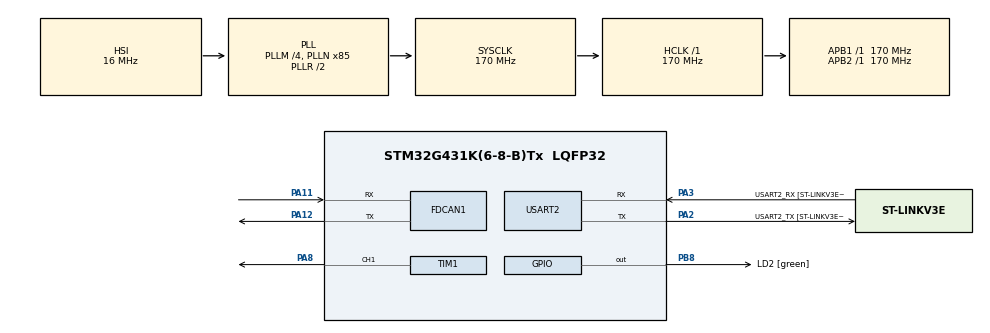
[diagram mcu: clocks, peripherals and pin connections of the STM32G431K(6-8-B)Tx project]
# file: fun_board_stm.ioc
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Dma.Request0=TIM1_CH1
Dma.TIM1_CH1.0.Direction=DMA_MEMORY_TO_PERIPH
Dma.TIM1_CH1.0.EventEnable=DISABLE
Dma.TIM1_CH1.0.Instance=DMA1_Channel1
Dma.TIM1_CH1.0.MemDataAlignment=DMA_MDATAALIGN_HALFWORD
Dma.TIM1_CH1.0.MemInc=DMA_MINC_ENABLE
Dma.TIM1_CH1.0.Mode=DMA_NORMAL
Dma.TIM1_CH1.0.PeriphDataAlignment=DMA_PDATAALIGN_HALFWORD
Dma.TIM1_CH1.0.PeriphInc=DMA_PINC_DISABLE
Dma.TIM1_CH1.0.Polarity=HAL_DMAMUX_REQ_GEN_RISING
Dma.TIM1_CH1.0.Priority=DMA_PRIORITY_LOW
Dma.TIM1_CH1.0.RequestNumber=1
Dma.TIM1_CH1.0.SignalID=NONE
Dma.TIM1_CH1.0.SyncEnable=DISABLE
Dma.TIM1_CH1.0.SyncPolarity=HAL_DMAMUX_SYNC_NO_EVENT
Dma.TIM1_CH1.0.SyncRequestNumber=1
Dma.TIM1_CH1.0.SyncSignalID=NONE
FDCAN1.CalculateBaudRateNominal=999999
FDCAN1.CalculateTimeBitNominal=1000
FDCAN1.CalculateTimeQuantumNominal=58.82352941176471
FDCAN1.DataPrescaler=10
FDCAN1.DataTimeSeg1=14
FDCAN1.DataTimeSeg2=2
FDCAN1.NominalPrescaler=10
FDCAN1.NominalTimeSeg1=14
Mcu.Family=STM32G4
Mcu.Name=STM32G431K(6-8-B)Tx
Mcu.Package=LQFP32
NVIC.DMA1_Channel1_IRQn=true\:0\:0\:false\:false\:true\:false\:true\:true
NVIC.FDCAN1_IT0_IRQn=true\:0\:0\:false\:false\:true\:true\:true\:true
NVIC.PriorityGroup=NVIC_PRIORITYGROUP_4
PA11.Mode=FDCAN_Activate
PA11.Signal=FDCAN1_RX
PA12.Mode=FDCAN_Activate
PA12.Signal=FDCAN1_TX
PA13.GPIO_Label=T_SWDIO
PA13.Mode=Serial_Wire
PA13.Signal=SYS_JTMS-SWDIO
PA14.GPIO_Label=T_SWCLK
PA14.Mode=Serial_Wire
PA14.Signal=SYS_JTCK-SWCLK
PA2.GPIO_Label=USART2_TX [ST-LINKV3E_VCP_RX]
PA2.Mode=Asynchronous
PA2.Signal=USART2_TX
PA3.GPIO_Label=USART2_RX [ST-LINKV3E_VCP_TX]
PA3.Mode=Asynchronous
PA3.Signal=USART2_RX
PA8.Signal=S_TIM1_CH1
PB3.GPIO_Label=T_SWO
PB3.Signal=SYS_JTDO-SWO
PB8-BOOT0.GPIO_Label=LD2 [green]
PB8-BOOT0.GPIO_PuPd=GPIO_NOPULL
PB8-BOOT0.Signal=GPIO_Output
ProjectManager.HeapSize=0x200
ProjectManager.StackSize=0x400
ProjectManager.TargetToolchain=STM32CubeIDE
RCC.ADC12Freq_Value=170000000
RCC.AHBFreq_Value=170000000
RCC.APB1Freq_Value=170000000
RCC.APB1TimFreq_Value=170000000
RCC.APB2Freq_Value=170000000
RCC.APB2TimFreq_Value=170000000
RCC.CortexFreq_Value=170000000
RCC.EXTERNAL_CLOCK_VALUE=12288000
RCC.HCLKFreq_Value=170000000
RCC.HSE_VALUE=8000000
RCC.HSI48_VALUE=48000000
RCC.HSI_VALUE=16000000
RCC.LSE_VALUE=32768
RCC.PLLM=RCC_PLLM_DIV4
RCC.PLLN=85
RCC.SYSCLKFreq_VALUE=170000000
RCC.SYSCLKSource=RCC_SYSCLKSOURCE_PLLCLK
RCC.USBFreq_Value=170000000
RCC.VCOOutputFreq_Value=340000000
SH.S_TIM1_CH1.0=TIM1_CH1,PWM Generation1 CH1
TIM1.Channel-PWM\ Generation1\ CH1=TIM_CHANNEL_1
TIM1.PeriodNoDither=215
USART2.VirtualMode-Asynchronous=VM_ASYNC
USART2.WordLength=WORDLENGTH_8B
VP_SYS_VS_DBSignals.Mode=DisableDeadBatterySignals
VP_TIM1_VS_ClockSourceINT.Mode=Internal
board=NUCLEO-G431KB

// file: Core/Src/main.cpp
/* USER CODE BEGIN Header */
/**
  ******************************************************************************
  * @file           : main.c
  * @brief          : Main program body
  ******************************************************************************
  * @attention
  *
  * Copyright (c) 2024 STMicroelectronics.
  * All rights reserved.
  *
  * This software is licensed under terms that can be found in the LICENSE file
  * in the root directory of this software component.
  * If no LICENSE file comes with this software, it is provided AS-IS.
  *
  ******************************************************************************
  */
/* USER CODE END Header */
#include "main.h"

/* USER CODE BEGIN Includes */

#include "math.h"

#include "MessageRecomposer.h"
#include "ChampiCan.h"

#include "ChampiState.h"

#include <pb_encode.h>
#include <pb_decode.h>
#include "msgs_can.pb.h"
#include "can_ids.hpp"

/* USER CODE END Includes */

/* USER CODE BEGIN PD */

#define MAX_LED 24
#define USE_BRIGHTNESS 0

volatile int datasentflag = 0;

uint8_t LED_Data[MAX_LED][4];
uint8_t LED_Mod[MAX_LED][4];  // for brightness

ChampiCan champi_can;
MessageRecomposer msg_recomposer_led_ring_distances;

ChampiState champi_state;

/* USER CODE END PD */

FDCAN_HandleTypeDef hfdcan1;

TIM_HandleTypeDef htim1;
DMA_HandleTypeDef hdma_tim1_ch1;

UART_HandleTypeDef huart2;

float distances_from_can[24];

void SystemClock_Config(void);
static void MX_GPIO_Init(void);
static void MX_DMA_Init(void);
static void MX_USART2_UART_Init(void);
static void MX_TIM1_Init(void);
static void MX_FDCAN1_Init(void);
/* USER CODE BEGIN PFP */

void on_receive_led_ring_distances(const std::string &proto_msg);

/* USER CODE END PFP */

/* USER CODE BEGIN 0 */

extern "C"
{
int _write(int file, char *ptr, int len)
{
   for (int DataIdx = 0; DataIdx < len; DataIdx++)
//        ITM_SendChar(*ptr++);
   	HAL_UART_Transmit(&huart2, (uint8_t*)ptr++, 1, HAL_MAX_DELAY);
   return len;
}

}

/**
  * @brief  Rx FIFO 0 callback.
  * @param  hfdcan: pointer to an FDCAN_HandleTypeDef structure that contains
  *         the configuration information for the specified FDCAN.
  * @param  RxFifo0ITs: indicates which Rx FIFO 0 interrupts are signalled.
  *         This parameter can be any combination of @arg FDCAN_Rx_Fifo0_Interrupts.
  * @retval None
  */
void HAL_FDCAN_RxFifo0Callback(FDCAN_HandleTypeDef *hfdcan, uint32_t RxFifo0ITs) {

    // Attention !! Quand on met un breakpoint dans cette fonction, on ne reçoit plus que 2 messages au lieu du
    // bon nombre.

    if ((RxFifo0ITs & FDCAN_IT_RX_FIFO0_NEW_MESSAGE) != RESET) {
        /* Retrieve Rx messages from RX FIFO0 */
        FDCAN_RxHeaderTypeDef RxHeader;
        uint8_t RxData[8];

        if (HAL_FDCAN_GetRxMessage(hfdcan, FDCAN_RX_FIFO0, &RxHeader, RxData) != HAL_OK) {
        	// We do nothing (fun board is not critical)
        }
        /* Handle Interesting messages
         * Pour le moment, on n'utilise pas de mutex ou de choses comme ça, donc il faut faire attention
         * à ne pas modifier trop de variables partagées, et de priviligier la modification de variables
         * de 32 bits ou moins (pour que leur modification soit une opération atomique)
         * */

        if (RxHeader.Identifier == CAN_ID_LED_RING_DISTANCES) {
        	msg_recomposer_led_ring_distances.add_frame(RxData, RxHeader.DataLength);

            if (msg_recomposer_led_ring_distances.check_if_new_full_msg()) {
                std::string proto_msg = msg_recomposer_led_ring_distances.get_full_msg();
                on_receive_led_ring_distances(proto_msg);

            }
        }
    }
}

/**
 * @brief Function to handle the received message from the CAN bus: it decodes the message and updates the
 * velocity command.
 * @param proto_msg : the received message (protobuf encoded)
 */
void on_receive_led_ring_distances(const std::string &proto_msg) {

  // Allocate space for the decoded message.
  msgs_can_LedRingDistances ret_led_ring_distances = msgs_can_LedRingDistances_init_zero;
  // Create a stream that reads from the buffer.
  pb_istream_t stream_ret = pb_istream_from_buffer((const unsigned char *) proto_msg.c_str(), proto_msg.size());
  // Now we are ready to decode the message.
  if (!pb_decode(&stream_ret, msgs_can_LedRingDistances_fields, &ret_led_ring_distances)) {
    // We do nothing (fun board is not critical)
  }

  // Use message
  for (int i = 0; i < 24; i++) {
    distances_from_can[i] = ret_led_ring_distances.distances[i];
   }

   // Print distances
    for (int i = 0; i < 24; i++) {
      printf("%d\t",(int)(distances_from_can[i]*100.0));
    }
    printf("\n");

}

/*! \brief Convert RGB to HSV color space

  Converts a given set of RGB values `r', `g', `b' into HSV
  coordinates. The input RGB values are in the range [0, 1], and the
  output HSV values are in the ranges h = [0, 360], and s, v = [0,
  1], respectively.

  \param fR Red component, used as input, range: [0, 1]
  \param fG Green component, used as input, range: [0, 1]
  \param fB Blue component, used as input, range: [0, 1]
  \param fH Hue component, used as output, range: [0, 360]
  \param fS Hue component, used as output, range: [0, 1]
  \param fV Hue component, used as output, range: [0, 1]

*/
void RGBtoHSV (float fR, float fG, float fB, float *fH, float *fS, float *fV) {
  float fCMax = fmax(fmax(fR, fG), fB);
  float fCMin = fmin(fmin(fR, fG), fB);
  float fDelta = fCMax - fCMin;

  if(fDelta > 0) {
    if(fCMax == fR) {
      *fH = 60 * (fmod(((fG - fB) / fDelta), 6));
    } else if(fCMax == fG) {
      *fH = 60 * (((fB - fR) / fDelta) + 2);
    } else if(fCMax == fB) {
      *fH = 60 * (((fR - fG) / fDelta) + 4);
    }

    if(fCMax > 0) {
      *fS = fDelta / fCMax;
    } else {
      *fS = 0;
    }

    *fV = fCMax;
  } else {
    *fH = 0;
    *fS = 0;
    *fV = fCMax;
  }

  if(*fH < 0.) {
    *fH = 360. + *fH;
  }
}

/*! \brief Convert HSV to RGB color space

  Converts a given set of HSV values `h', `s', `v' into RGB
  coordinates. The output RGB values are in the range [0, 255], and
  the input HSV values are in the ranges h = [0, 360], and s, v =
  [0, 1], respectively.

  \param fR Red component, used as output, range: [0, 1]
  \param fG Green component, used as output, range: [0, 1]
  \param fB Blue component, used as output, range: [0, 1]
  \param fH Hue component, used as input, range: [0, 360]
  \param fS Hue component, used as input, range: [0, 1]
  \param fV Hue component, used as input, range: [0, 1]

*/
void HSVtoRGB (float *fR, float *fG, float *fB, float fH, float fS, float fV) {

  float fC = fV * fS; // Chroma
  float fHPrime = fmod(fH / 60.0, 6);
  float fX = fC * (1 - fabs(fmod(fHPrime, 2) - 1));
  float fM = fV - fC;

  if(0 <= fHPrime && fHPrime < 1) {
    *fR = fC;
    *fG = fX;
    *fB = 0;
  } else if(1 <= fHPrime && fHPrime < 2) {
    *fR = fX;
    *fG = fC;
    *fB = 0;
  } else if(2 <= fHPrime && fHPrime < 3) {
    *fR = 0;
    *fG = fC;
    *fB = fX;
  } else if(3 <= fHPrime && fHPrime < 4) {
    *fR = 0;
    *fG = fX;
    *fB = fC;
  } else if(4 <= fHPrime && fHPrime < 5) {
    *fR = fX;
    *fG = 0;
    *fB = fC;
  } else if(5 <= fHPrime && fHPrime < 6) {
    *fR = fC;
    *fG = 0;
    *fB = fX;
  } else {
    *fR = 0;
    *fG = 0;
    *fB = 0;
  }

  *fR += fM;
  *fG += fM;
  *fB += fM;

  *fR*=255;
  *fG*=255;
  *fB*=255;
}

void Set_LED (int LEDnum, int Red, int Green, int Blue)
{
  LED_Data[LEDnum][0] = LEDnum;
  LED_Data[LEDnum][1] = Green;
  LED_Data[LEDnum][2] = Red;
  LED_Data[LEDnum][3] = Blue;
}

#define PI 3.14159265

void Set_Brightness (int brightness)  // 0-45
{
#if USE_BRIGHTNESS

  if (brightness > 45) brightness = 45;
  for (int i=0; i<MAX_LED; i++)
  {
    LED_Mod[i][0] = LED_Data[i][0];
    for (int j=1; j<4; j++)
    {
      float angle = 90-brightness;  // in degrees
      angle = angle*PI / 180;  // in rad
      LED_Mod[i][j] = (LED_Data[i][j])/(tan(angle));
    }
  }

#endif

}

uint16_t pwmData[(24*MAX_LED)+200];

void WS2812_Send (void)
{
  uint32_t indx=0;
  uint32_t color;

  for (int i= 0; i<MAX_LED; i++)
  {
#if USE_BRIGHTNESS
    color = ((LED_Mod[i][1]<<16) | (LED_Mod[i][2]<<8) | (LED_Mod[i][3]));
#else
    color = ((LED_Data[i][1]<<16) | (LED_Data[i][2]<<8) | (LED_Data[i][3]));
#endif

    for (int i=23; i>=0; i--)
    {
      if (color&(1<<i))
      {
        pwmData[indx] = 142;  // 2/3 of 215
      }

      else pwmData[indx] = 71;  // 1/3 of 215

      indx++;
    }

  }

  for (int i=0; i<200; i++)
  {
    pwmData[indx] = 0;
    indx++;
  }

  HAL_TIM_PWM_Start_DMA(&htim1, TIM_CHANNEL_1, (uint32_t*)pwmData, indx);
  while (!datasentflag){};
  datasentflag = 0;
}

void HAL_TIM_PWM_PulseFinishedCallback(TIM_HandleTypeDef *htim)
{
  HAL_TIM_PWM_Stop_DMA(&htim1, TIM_CHANNEL_1);
  datasentflag=1;
}

void animation_from_distances() {
	float max_dist=2.0;

	for(int i=0; i<24; i++) {
		int B = distances_from_can[i] * 255/max_dist;
		int R = 255 - distances_from_can[i] * 255/max_dist;
		Set_LED(i, 0, 0, B);
	}

	WS2812_Send();
}

void clear()
{
  for (int i=0;i<MAX_LED;i++)
  {
    Set_LED(i, 0, 0, 0);
  }
  WS2812_Send();
}

void explosion_animation()
{
  Set_LED(0, 255, 255, 255);
  WS2812_Send();

  static int pos_1 = 0;
  static int pos_2 = MAX_LED-1;
  static int in_explosion = 0;

  if (in_explosion == 0)
  {
    // applique
    Set_LED(pos_1, 255, 0, 0);
    Set_LED(pos_2, 0, 255, 255);
    WS2812_Send();

    HAL_Delay(100);
    //efface
    Set_LED(pos_1, 0, 0, 0);
    Set_LED(pos_2, 0, 0, 0);
    WS2812_Send();

    //update
    pos_1++;
    pos_2--;

    // si les pos sont égales, on explose
    if (pos_1 == pos_2+1 || pos_1 == pos_2-1 || pos_1 == pos_2)
    {
      in_explosion = 1;
    }
  }
  else
  {
    if (pos_1==MAX_LED || pos_2<0)
    {
      pos_1 = 0;
      pos_2 = MAX_LED-1;
      in_explosion = 0;
      for (int t=255;t>=0;t-=3) {
        for (int i=0;i<MAX_LED;i++) {
          Set_LED(i, t, t, 0);
        }
        WS2812_Send();
        HAL_Delay(10);
      }
      HAL_Delay(3000);
    }
    Set_LED(pos_1, 255, 255, 0);
    Set_LED(pos_2, 255, 255, 0);
    WS2812_Send();
    pos_1++;
    pos_2--;
    HAL_Delay(20);
  }

}

void unique_led_animation()
{
  static int count_red = 0;
  static int count_blue = MAX_LED-1;
  Set_LED(count_red, 255, 0, 0);
  Set_LED(count_blue, 0, 0, 255);

  if (count_red > 0)
    Set_LED(count_red-1, 0, 0, 0);
  if (count_blue < MAX_LED-1)
    Set_LED(count_blue+1, 0, 0, 0);
  count_red++;
  count_blue--;
  if (count_red >= MAX_LED)
  {
    Set_LED(MAX_LED-1, 0, 0, 0);
    count_red = 0;
  }
  if (count_blue <= 0)
  {
    Set_LED(1, 0, 0, 0);
    count_blue = MAX_LED-1;
  }
  WS2812_Send();
  HAL_Delay(20);
}
void snake_animation()
{
  static int offset = 0;
  static float step = 255/50;
  // generation du tableau
  static int leds_val[MAX_LED];
  for (int i=0;i<15;i++)
  {
    leds_val[i] = 1/(1+exp((((MAX_LED-i)*step/21)-6)*-1))*255;

  }
  for (int i=15;i<MAX_LED;i++)
  {
    leds_val[i] = 0;
  }

  int c;
  for (int i=0;i<MAX_LED;i++)
  {
    c = i+offset;
    if (c>MAX_LED)
      c -= MAX_LED;
    Set_LED(i, 0, 0, leds_val[c]);
  }

  WS2812_Send();
  HAL_Delay(50);

  offset+=1;
  if (offset>MAX_LED)
    offset = 0;
}
void brush_animation() {
  static int ON = 1;
  static int red;

  if (ON==1)
    red = 255;
  else
    red = 0;

  for (int i=0;i<MAX_LED;i++) {
    Set_LED(i, red, 0, 0);
    WS2812_Send();
    HAL_Delay(18);
  }
  if (ON==1)
    ON = 0;
  else
    ON = 1;
}

void mistake_animation() {
  static int count = 0;
  static int ON = 1;
  static int red;

  if (ON==1)
    red = 255;
  else
    red = 0;

  for (int i=MAX_LED-1;i>count;i--) {
    Set_LED(i, red, 0, 0);
    WS2812_Send();
    HAL_Delay(20);
  }
  if (ON==1)
    ON = 0;
  else
    ON = 1;

  count++;
  if (count==MAX_LED)
    count = 0;
}

void loading_animation() {
  static int count = 0;
  static float h,s,v, r,g,b;
  h = 0;
  s = 1;
  v = 1;

	for (int i=0;i<count;i++) {
	  h = i*10;
	  HSVtoRGB(&r,&g,&b,h,s,v);
		Set_LED(i, r, g, b); // R G B
	}
  WS2812_Send();

    for (int i=MAX_LED-1;i>count;i--) {
      h = i*10;
      HSVtoRGB(&r,&g,&b,h,s,v);
    	Set_LED(i, r, g, b);
    	if (i+1<MAX_LED)
    		Set_LED(i+1, 0, 0, 0);
    	WS2812_Send();
    	HAL_Delay(20);
    }

    count++;
    if (count==MAX_LED)
    	count = 0;
}

void hyper_style_animation()
{
  static float h,s,v, r,g,b;
  h = 0;
  s = 1;
  v = 1;

  static float step = 360/MAX_LED;
  static int offset = 0;

  for (int i=0;i<MAX_LED;i++) {
    HSVtoRGB(&r,&g,&b,h,s,v);
    Set_LED(i, r, g, b);
    h+=step+offset;
    if (h>360)
      h = h-360;
  }
  WS2812_Send();
  HAL_Delay(100);
  offset+=1;
}

void turning_rainbow_animation()
{
  static float h,s,v, r,g,b;
  h = 0;
  s = 1;
  v = 1;

  static float step = 360/MAX_LED;
  static int offset = 0;

  // ANIMATION
  h = offset;
  for (int i=0;i<MAX_LED;i++) {
    HSVtoRGB(&r,&g,&b,h,s,v);
    Set_LED(i, r, g, b);
    h+=step;
    if (h>=360)
      h = h-360;
  }
  WS2812_Send();
  HAL_Delay(1);
  offset+=1;
  if (offset>=360)
    offset = 0;

}

void setup() {

    champi_can = ChampiCan(&hfdcan1);
    msg_recomposer_led_ring_distances = MessageRecomposer();

    if (champi_can.start() != 0) {
        // TODO: On a jamais rencontré cette erreur.
        Error_Handler();
    }

    // set all elements of distances_from_can to 0
    for (int i = 0; i < 24; i++) {
        distances_from_can[i] = 0;
    }
}

/* USER CODE END 0 */

int main(void)
{

  /* MCU Configuration--------------------------------------------------------*/

  /* Reset of all peripherals, Initializes the Flash interface and the Systick. */
  HAL_Init();

  /* Configure the system clock */
  SystemClock_Config();

  /* Initialize all configured peripherals */
  MX_GPIO_Init();
  MX_DMA_Init();
  MX_USART2_UART_Init();
  MX_TIM1_Init();
  MX_FDCAN1_Init();
  /* USER CODE BEGIN 2 */

  setup();

  int i = 0;
  int counter = 0;
  while (1)
  {
    //turning_rainbow_animation();
	animation_from_distances();
  }

  while (1)
  {

    switch (i)
    {
    case 0:
      turning_rainbow_animation();
      break;
    case 1:
      hyper_style_animation();
      break;
    case 2:
      loading_animation();
      break;
    case 3:
      brush_animation();
      break;
    case 4:
      snake_animation();
      break;
    }
    counter ++;
    if (counter == 100)
    {
      counter = 0;
      i++;
      if (i>4)
        i=0;
    }
  }

  /* USER CODE END 2 */

  /* Infinite loop */
  while (1)
  {

  }
}

void SystemClock_Config(void)
{
  RCC_OscInitTypeDef RCC_OscInitStruct = {0};
  RCC_ClkInitTypeDef RCC_ClkInitStruct = {0};

  /** Configure the main internal regulator output voltage
  */
  HAL_PWREx_ControlVoltageScaling(PWR_REGULATOR_VOLTAGE_SCALE1_BOOST);

  /** Initializes the RCC Oscillators according to the specified parameters
  * in the RCC_OscInitTypeDef structure.
  */
  RCC_OscInitStruct.OscillatorType = RCC_OSCILLATORTYPE_HSI;
  RCC_OscInitStruct.HSIState = RCC_HSI_ON;
  RCC_OscInitStruct.HSICalibrationValue = RCC_HSICALIBRATION_DEFAULT;
  RCC_OscInitStruct.PLL.PLLState = RCC_PLL_ON;
  RCC_OscInitStruct.PLL.PLLSource = RCC_PLLSOURCE_HSI;
  RCC_OscInitStruct.PLL.PLLM = RCC_PLLM_DIV4;
  RCC_OscInitStruct.PLL.PLLN = 85;
  RCC_OscInitStruct.PLL.PLLP = RCC_PLLP_DIV2;
  RCC_OscInitStruct.PLL.PLLQ = RCC_PLLQ_DIV2;
  RCC_OscInitStruct.PLL.PLLR = RCC_PLLR_DIV2;
  if (HAL_RCC_OscConfig(&RCC_OscInitStruct) != HAL_OK)
  {
    Error_Handler();
  }

  /** Initializes the CPU, AHB and APB buses clocks
  */
  RCC_ClkInitStruct.ClockType = RCC_CLOCKTYPE_HCLK|RCC_CLOCKTYPE_SYSCLK
                              |RCC_CLOCKTYPE_PCLK1|RCC_CLOCKTYPE_PCLK2;
  RCC_ClkInitStruct.SYSCLKSource = RCC_SYSCLKSOURCE_PLLCLK;
  RCC_ClkInitStruct.AHBCLKDivider = RCC_SYSCLK_DIV1;
  RCC_ClkInitStruct.APB1CLKDivider = RCC_HCLK_DIV1;
  RCC_ClkInitStruct.APB2CLKDivider = RCC_HCLK_DIV1;

  if (HAL_RCC_ClockConfig(&RCC_ClkInitStruct, FLASH_LATENCY_4) != HAL_OK)
  {
    Error_Handler();
  }
}

static void MX_FDCAN1_Init(void)
{

  hfdcan1.Instance = FDCAN1;
  hfdcan1.Init.ClockDivider = FDCAN_CLOCK_DIV1;
  hfdcan1.Init.FrameFormat = FDCAN_FRAME_CLASSIC;
  hfdcan1.Init.Mode = FDCAN_MODE_NORMAL;
  hfdcan1.Init.AutoRetransmission = DISABLE;
  hfdcan1.Init.TransmitPause = DISABLE;
  hfdcan1.Init.ProtocolException = DISABLE;
  hfdcan1.Init.NominalPrescaler = 10;
  hfdcan1.Init.NominalSyncJumpWidth = 1;
  hfdcan1.Init.NominalTimeSeg1 = 14;
  hfdcan1.Init.NominalTimeSeg2 = 2;
  hfdcan1.Init.DataPrescaler = 10;
  hfdcan1.Init.DataSyncJumpWidth = 1;
  hfdcan1.Init.DataTimeSeg1 = 14;
  hfdcan1.Init.DataTimeSeg2 = 2;
  hfdcan1.Init.StdFiltersNbr = 0;
  hfdcan1.Init.ExtFiltersNbr = 0;
  hfdcan1.Init.TxFifoQueueMode = FDCAN_TX_FIFO_OPERATION;
  if (HAL_FDCAN_Init(&hfdcan1) != HAL_OK)
  {
    Error_Handler();
  }

}

static void MX_TIM1_Init(void)
{

  TIM_ClockConfigTypeDef sClockSourceConfig = {0};
  TIM_MasterConfigTypeDef sMasterConfig = {0};
  TIM_OC_InitTypeDef sConfigOC = {0};
  TIM_BreakDeadTimeConfigTypeDef sBreakDeadTimeConfig = {0};

  htim1.Instance = TIM1;
  htim1.Init.Prescaler = 0;
  htim1.Init.CounterMode = TIM_COUNTERMODE_UP;
  htim1.Init.Period = 215;
  htim1.Init.ClockDivision = TIM_CLOCKDIVISION_DIV1;
  htim1.Init.RepetitionCounter = 0;
  htim1.Init.AutoReloadPreload = TIM_AUTORELOAD_PRELOAD_DISABLE;
  if (HAL_TIM_Base_Init(&htim1) != HAL_OK)
  {
    Error_Handler();
  }
  sClockSourceConfig.ClockSource = TIM_CLOCKSOURCE_INTERNAL;
  if (HAL_TIM_ConfigClockSource(&htim1, &sClockSourceConfig) != HAL_OK)
  {
    Error_Handler();
  }
  if (HAL_TIM_PWM_Init(&htim1) != HAL_OK)
  {
    Error_Handler();
  }
  sMasterConfig.MasterOutputTrigger = TIM_TRGO_RESET;
  sMasterConfig.MasterOutputTrigger2 = TIM_TRGO2_RESET;
  sMasterConfig.MasterSlaveMode = TIM_MASTERSLAVEMODE_DISABLE;
  if (HAL_TIMEx_MasterConfigSynchronization(&htim1, &sMasterConfig) != HAL_OK)
  {
    Error_Handler();
  }
  sConfigOC.OCMode = TIM_OCMODE_PWM1;
  sConfigOC.Pulse = 0;
  sConfigOC.OCPolarity = TIM_OCPOLARITY_HIGH;
  sConfigOC.OCNPolarity = TIM_OCNPOLARITY_HIGH;
  sConfigOC.OCFastMode = TIM_OCFAST_DISABLE;
  sConfigOC.OCIdleState = TIM_OCIDLESTATE_RESET;
  sConfigOC.OCNIdleState = TIM_OCNIDLESTATE_RESET;
  if (HAL_TIM_PWM_ConfigChannel(&htim1, &sConfigOC, TIM_CHANNEL_1) != HAL_OK)
  {
    Error_Handler();
  }
  sBreakDeadTimeConfig.OffStateRunMode = TIM_OSSR_DISABLE;
  sBreakDeadTimeConfig.OffStateIDLEMode = TIM_OSSI_DISABLE;
  sBreakDeadTimeConfig.LockLevel = TIM_LOCKLEVEL_OFF;
  sBreakDeadTimeConfig.DeadTime = 0;
  sBreakDeadTimeConfig.BreakState = TIM_BREAK_DISABLE;
  sBreakDeadTimeConfig.BreakPolarity = TIM_BREAKPOLARITY_HIGH;
  sBreakDeadTimeConfig.BreakFilter = 0;
  sBreakDeadTimeConfig.BreakAFMode = TIM_BREAK_AFMODE_INPUT;
  sBreakDeadTimeConfig.Break2State = TIM_BREAK2_DISABLE;
  sBreakDeadTimeConfig.Break2Polarity = TIM_BREAK2POLARITY_HIGH;
  sBreakDeadTimeConfig.Break2Filter = 0;
  sBreakDeadTimeConfig.Break2AFMode = TIM_BREAK_AFMODE_INPUT;
  sBreakDeadTimeConfig.AutomaticOutput = TIM_AUTOMATICOUTPUT_DISABLE;
  if (HAL_TIMEx_ConfigBreakDeadTime(&htim1, &sBreakDeadTimeConfig) != HAL_OK)
  {
    Error_Handler();
  }
  HAL_TIM_MspPostInit(&htim1);

}

static void MX_USART2_UART_Init(void)
{

  huart2.Instance = USART2;
  huart2.Init.BaudRate = 115200;
  huart2.Init.WordLength = UART_WORDLENGTH_8B;
  huart2.Init.StopBits = UART_STOPBITS_1;
  huart2.Init.Parity = UART_PARITY_NONE;
  huart2.Init.Mode = UART_MODE_TX_RX;
  huart2.Init.HwFlowCtl = UART_HWCONTROL_NONE;
  huart2.Init.OverSampling = UART_OVERSAMPLING_16;
  huart2.Init.OneBitSampling = UART_ONE_BIT_SAMPLE_DISABLE;
  huart2.Init.ClockPrescaler = UART_PRESCALER_DIV1;
  huart2.AdvancedInit.AdvFeatureInit = UART_ADVFEATURE_NO_INIT;
  if (HAL_UART_Init(&huart2) != HAL_OK)
  {
    Error_Handler();
  }
  if (HAL_UARTEx_SetTxFifoThreshold(&huart2, UART_TXFIFO_THRESHOLD_1_8) != HAL_OK)
  {
    Error_Handler();
  }
  if (HAL_UARTEx_SetRxFifoThreshold(&huart2, UART_RXFIFO_THRESHOLD_1_8) != HAL_OK)
  {
    Error_Handler();
  }
  if (HAL_UARTEx_DisableFifoMode(&huart2) != HAL_OK)
  {
    Error_Handler();
  }

}

static void MX_DMA_Init(void)
{

  /* DMA controller clock enable */
  __HAL_RCC_DMAMUX1_CLK_ENABLE();
  __HAL_RCC_DMA1_CLK_ENABLE();

  /* DMA interrupt init */
  /* DMA1_Channel1_IRQn interrupt configuration */
  HAL_NVIC_SetPriority(DMA1_Channel1_IRQn, 0, 0);
  HAL_NVIC_EnableIRQ(DMA1_Channel1_IRQn);

}

static void MX_GPIO_Init(void)
{
  GPIO_InitTypeDef GPIO_InitStruct = {0};

  /* GPIO Ports Clock Enable */
  __HAL_RCC_GPIOA_CLK_ENABLE();
  __HAL_RCC_GPIOB_CLK_ENABLE();

  /*Configure GPIO pin Output Level */
  HAL_GPIO_WritePin(LD2_GPIO_Port, LD2_Pin, GPIO_PIN_RESET);

  /*Configure GPIO pin : LD2_Pin */
  GPIO_InitStruct.Pin = LD2_Pin;
  GPIO_InitStruct.Mode = GPIO_MODE_OUTPUT_PP;
  GPIO_InitStruct.Pull = GPIO_NOPULL;
  GPIO_InitStruct.Speed = GPIO_SPEED_FREQ_LOW;
  HAL_GPIO_Init(LD2_GPIO_Port, &GPIO_InitStruct);

}

void Error_Handler(void)
{
  __disable_irq();
  while (1)
  {
  }
}
